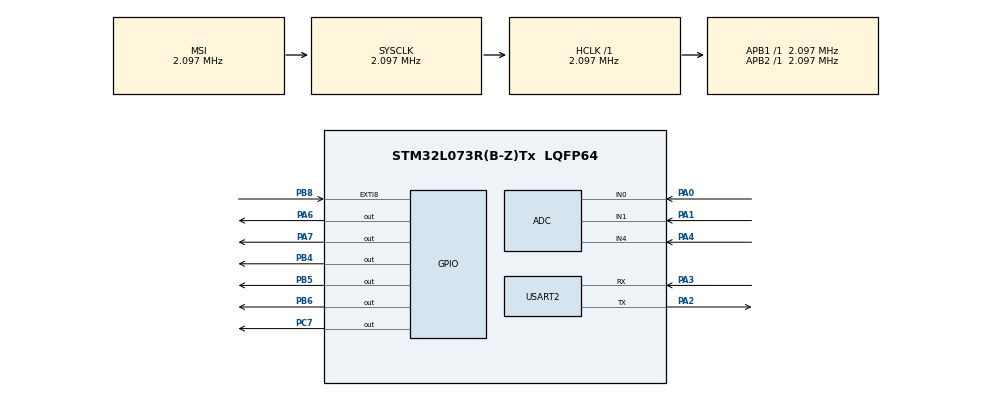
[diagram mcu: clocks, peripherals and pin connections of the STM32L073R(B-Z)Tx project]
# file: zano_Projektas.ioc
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ADC.DiscontinuousConvMode=ENABLE
Mcu.Family=STM32L0
Mcu.Name=STM32L073R(B-Z)Tx
Mcu.Package=LQFP64
NVIC.EXTI4_15_IRQn=true\:0\:0\:false\:false\:true\:true\:true\:true
PA0.Mode=IN0
PA0.Signal=ADC_IN0
PA1.Mode=IN1
PA1.Signal=ADC_IN1
PA2.Mode=Asynchronous
PA2.Signal=USART2_TX
PA3.Mode=Asynchronous
PA3.Signal=USART2_RX
PA4.Mode=IN4
PA4.Signal=ADC_IN4
PA6.Signal=GPIO_Output
PA7.Signal=GPIO_Output
PB4.Signal=GPIO_Output
PB5.Signal=GPIO_Output
PB6.Signal=GPIO_Output
PB8.GPIO_PuPd=GPIO_PULLUP
PB8.Signal=GPXTI8
PC7.Signal=GPIO_Output
ProjectManager.HeapSize=0x200
ProjectManager.StackSize=0x400
ProjectManager.TargetToolchain=MDK-ARM V5.32
RCC.AHBFreq_Value=2097000
RCC.APB1Freq_Value=2097000
RCC.APB1TimFreq_Value=2097000
RCC.APB2Freq_Value=2097000
RCC.APB2TimFreq_Value=2097000
RCC.HSE_VALUE=8000000
RCC.HSI16_VALUE=16000000
RCC.HSI48_VALUE=48000000
RCC.HSI_VALUE=16000000
RCC.LSE_VALUE=32768
RCC.MSI_VALUE=2097000
RCC.SYSCLKFreq_VALUE=2097000
RCC.VCOOutputFreq_Value=48000000
USART2.VirtualMode-Asynchronous=VM_ASYNC
board=custom

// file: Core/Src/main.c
/* USER CODE BEGIN Header */
/**
  ******************************************************************************
  * @file           : main.c
  * @brief          : Main program body
  ******************************************************************************
  * @attention
  *
  * Copyright (c) 2024 STMicroelectronics.
  * All rights reserved.
  *
  * This software is licensed under terms that can be found in the LICENSE file
  * in the root directory of this software component.
  * If no LICENSE file comes with this software, it is provided AS-IS.
  *
  ******************************************************************************
  */
/* USER CODE END Header */
#include "main.h"

/* USER CODE BEGIN Includes */
#include "lcd.h"
float raw;
float Vin;
float Vin_t;
int ValueR1=7500;
int ValueR2=30000;
int g;
int V;
float raw1;
float Vin1;
float Vin_t1;
int g1;
int V1;
float raw2;
float Vin2;
float Vin_t2;
int g2;
int V2;
char msg[100];
char msg2[100];
char msg3[100];
char msg4[100];
float vid;
int gv;
int Vg;
int cnt=0;
/* USER CODE END Includes */

ADC_HandleTypeDef hadc;

UART_HandleTypeDef huart2;

/* USER CODE BEGIN PV */
// Lcd_PortType ports[] = { D4_GPIO_Port, D5_GPIO_Port, D6_GPIO_Port, D7_GPIO_Port };
  Lcd_PortType ports[] = { GPIOC, GPIOB, GPIOA, GPIOA };
  // Lcd_PinType pins[] = {D4_Pin, D5_Pin, D6_Pin, D7_Pin};
  Lcd_PinType pins[] = {GPIO_PIN_7, GPIO_PIN_6, GPIO_PIN_7, GPIO_PIN_6};
  Lcd_HandleTypeDef lcd;
  // Lcd_create(ports, pins, RS_GPIO_Port, RS_Pin, EN_GPIO_Port, EN_Pin, LCD_4_BIT_MODE);
/* USER CODE END PV */

void SystemClock_Config(void);
static void MX_GPIO_Init(void);
static void MX_ADC_Init(void);
static void MX_USART2_UART_Init(void);

/* USER CODE BEGIN 0 */
typedef enum {STATUS_READY, STATUS_WAIT} TStatus;
TStatus Status=STATUS_WAIT;
void HAL_GPIO_EXTI_Callback(uint16_t GPIO_Pin){
/* Prevent unused argument(s) compilation warning */
UNUSED(GPIO_Pin);
 static uint32_t last_press_time = 0;

    uint32_t current_time = HAL_GetTick();

    if ((current_time - last_press_time) > 300) {

        last_press_time = current_time;

        if (GPIO_Pin == GPIO_PIN_8) {
            if (Status == STATUS_WAIT) {
                Status = STATUS_READY;
								cnt++;
            } else {
                Status = STATUS_WAIT;
            }
        }
    }
}

void itampa_1()
{

				Vin=raw*(3.3/4096);
				Vin_t = Vin * ( 1 + ( (float) ValueR2 /  (float) ValueR1) );
				Lcd_cursor(&lcd, 0,0);
				Lcd_string(&lcd,"Nr. 1: ");
				g = (int)Vin_t;
				V = (Vin_t - g)*10;
				Lcd_int(&lcd, Vin_t);
				Lcd_string(&lcd,".");
				Lcd_int(&lcd, V);
				Lcd_string(&lcd,"V");
				sprintf(msg, "Itampa nr. 1: %f\r\n", Vin_t);
				HAL_UART_Transmit(&huart2,(uint8_t*)msg, strlen(msg),HAL_MAX_DELAY);
}
void itampa_2()
{

				Vin1=raw1*(3.3/4096);
				Vin_t1 = Vin1 * ( 1 + ( (float) ValueR2 /  (float) ValueR1) );
				Lcd_cursor(&lcd, 0,0);
				Lcd_string(&lcd,"Nr. 2: ");
				g1 = (int)Vin_t1;
				V1 = (Vin_t1 - g1)*10;
				Lcd_int(&lcd, Vin_t1);
				Lcd_string(&lcd,".");
				Lcd_int(&lcd, V1);
				Lcd_string(&lcd,"V");
				sprintf(msg2, "Itampa nr. 2: %f\r\n", Vin_t1);
				HAL_UART_Transmit(&huart2,(uint8_t*)msg2, strlen(msg2),HAL_MAX_DELAY);
}
void itampa_3()
{

				Vin2=raw2*(3.3/4096);
				Vin_t2 = Vin2 * ( 1 + ( (float) ValueR2 /  (float) ValueR1) );
				Lcd_cursor(&lcd, 0,0);
				Lcd_string(&lcd,"Nr. 3: ");
				g2 = (int)Vin_t2;
				V2 = (Vin_t2 - g2)*10;
				Lcd_int(&lcd, Vin_t2);
				Lcd_string(&lcd,".");
				Lcd_int(&lcd, V2);
				Lcd_string(&lcd,"V");
				sprintf(msg3, "Itampa nr. 3: %f\r\n", Vin_t2);
				HAL_UART_Transmit(&huart2,(uint8_t*)msg3, strlen(msg3),HAL_MAX_DELAY);
}
void vidurkis()
{
	HAL_ADC_Start(&hadc);
        HAL_ADC_PollForConversion(&hadc, 300);
        raw = HAL_ADC_GetValue(&hadc);
		HAL_ADC_Start(&hadc);
        HAL_ADC_PollForConversion(&hadc, 300);
        raw1 = HAL_ADC_GetValue(&hadc);
		HAL_ADC_Start(&hadc);
        HAL_ADC_PollForConversion(&hadc, 300);
        raw2 = HAL_ADC_GetValue(&hadc);
	Vin=raw*(3.3/4096);
				Vin_t = Vin * ( 1 + ( (float) ValueR2 /  (float) ValueR1) );
	Vin1=raw1*(3.3/4096);
				Vin_t1 = Vin1 * ( 1 + ( (float) ValueR2 /  (float) ValueR1) );
	Vin2=raw2*(3.3/4096);
				Vin_t2 = Vin2 * ( 1 + ( (float) ValueR2 /  (float) ValueR1) );
	vid = (Vin_t + Vin_t1 + Vin_t2 )/3;
	Lcd_cursor(&lcd, 0,0);
	Lcd_string(&lcd,"Vidurkis: ");
	gv = (int)vid;
	Vg = (vid - gv)*10;
	Lcd_int(&lcd, vid);
	Lcd_string(&lcd,".");
	Lcd_int(&lcd, Vg);
	Lcd_string(&lcd,"V");
	sprintf(msg4, "Vidurkis: %f\r\n", vid);
	HAL_UART_Transmit(&huart2,(uint8_t*)msg4, strlen(msg4),HAL_MAX_DELAY);
}
/* USER CODE END 0 */

int main(void)
{

  /* MCU Configuration--------------------------------------------------------*/

  /* Reset of all peripherals, Initializes the Flash interface and the Systick. */
  HAL_Init();

  /* Configure the system clock */
  SystemClock_Config();

  /* Initialize all configured peripherals */
  MX_GPIO_Init();
  MX_ADC_Init();
  MX_USART2_UART_Init();
  /* USER CODE BEGIN 2 */

  lcd = Lcd_create(ports, pins, GPIOB, GPIO_PIN_5, GPIOB, GPIO_PIN_4, LCD_4_BIT_MODE);

  /* USER CODE END 2 */

  /* Infinite loop */
  /* USER CODE BEGIN WHILE */
  while (1)
  {
		HAL_ADC_Start(&hadc);
    HAL_ADC_PollForConversion(&hadc, 300);
    raw = HAL_ADC_GetValue(&hadc);
		HAL_ADC_Start(&hadc);
		HAL_ADC_PollForConversion(&hadc, 300);
		raw1 = HAL_ADC_GetValue(&hadc);
		HAL_ADC_Start(&hadc);
    HAL_ADC_PollForConversion(&hadc, 300);
    raw2 = HAL_ADC_GetValue(&hadc);
		if(cnt==0)
		{
		itampa_1();
		}
		else if(cnt==1)
		{
		Lcd_clear(&lcd);
		cnt=2;
		}
		else if(cnt==2)
		{
		itampa_2();
		}
		else if(cnt==3)
		{
		Lcd_clear(&lcd);
		cnt=4;
		}
		else if(cnt==4)
		{
		itampa_3();
		}
		else if(cnt==5)
		{
		Lcd_clear(&lcd);
		cnt=6;
		}
		else if(cnt==6)
		{
		vidurkis();
		}
		else if(cnt==7)
		{
		Lcd_clear(&lcd);
		cnt=0;
		}
    /* USER CODE END WHILE */

  }
}

void SystemClock_Config(void)
{
  RCC_OscInitTypeDef RCC_OscInitStruct = {0};
  RCC_ClkInitTypeDef RCC_ClkInitStruct = {0};
  RCC_PeriphCLKInitTypeDef PeriphClkInit = {0};

  /** Configure the main internal regulator output voltage
  */
  __HAL_PWR_VOLTAGESCALING_CONFIG(PWR_REGULATOR_VOLTAGE_SCALE1);

  /** Initializes the RCC Oscillators according to the specified parameters
  * in the RCC_OscInitTypeDef structure.
  */
  RCC_OscInitStruct.OscillatorType = RCC_OSCILLATORTYPE_MSI;
  RCC_OscInitStruct.MSIState = RCC_MSI_ON;
  RCC_OscInitStruct.MSICalibrationValue = 0;
  RCC_OscInitStruct.MSIClockRange = RCC_MSIRANGE_5;
  RCC_OscInitStruct.PLL.PLLState = RCC_PLL_NONE;
  if (HAL_RCC_OscConfig(&RCC_OscInitStruct) != HAL_OK)
  {
    Error_Handler();
  }

  /** Initializes the CPU, AHB and APB buses clocks
  */
  RCC_ClkInitStruct.ClockType = RCC_CLOCKTYPE_HCLK|RCC_CLOCKTYPE_SYSCLK
                              |RCC_CLOCKTYPE_PCLK1|RCC_CLOCKTYPE_PCLK2;
  RCC_ClkInitStruct.SYSCLKSource = RCC_SYSCLKSOURCE_MSI;
  RCC_ClkInitStruct.AHBCLKDivider = RCC_SYSCLK_DIV1;
  RCC_ClkInitStruct.APB1CLKDivider = RCC_HCLK_DIV1;
  RCC_ClkInitStruct.APB2CLKDivider = RCC_HCLK_DIV1;

  if (HAL_RCC_ClockConfig(&RCC_ClkInitStruct, FLASH_LATENCY_0) != HAL_OK)
  {
    Error_Handler();
  }
  PeriphClkInit.PeriphClockSelection = RCC_PERIPHCLK_USART2;
  PeriphClkInit.Usart2ClockSelection = RCC_USART2CLKSOURCE_PCLK1;
  if (HAL_RCCEx_PeriphCLKConfig(&PeriphClkInit) != HAL_OK)
  {
    Error_Handler();
  }
}

static void MX_ADC_Init(void)
{

  ADC_ChannelConfTypeDef sConfig = {0};

  /** Configure the global features of the ADC (Clock, Resolution, Data Alignment and number of conversion)
  */
  hadc.Instance = ADC1;
  hadc.Init.OversamplingMode = DISABLE;
  hadc.Init.ClockPrescaler = ADC_CLOCK_SYNC_PCLK_DIV1;
  hadc.Init.Resolution = ADC_RESOLUTION_12B;
  hadc.Init.SamplingTime = ADC_SAMPLETIME_1CYCLE_5;
  hadc.Init.ScanConvMode = ADC_SCAN_DIRECTION_FORWARD;
  hadc.Init.DataAlign = ADC_DATAALIGN_RIGHT;
  hadc.Init.ContinuousConvMode = DISABLE;
  hadc.Init.DiscontinuousConvMode = ENABLE;
  hadc.Init.ExternalTrigConvEdge = ADC_EXTERNALTRIGCONVEDGE_NONE;
  hadc.Init.ExternalTrigConv = ADC_SOFTWARE_START;
  hadc.Init.DMAContinuousRequests = DISABLE;
  hadc.Init.EOCSelection = ADC_EOC_SINGLE_CONV;
  hadc.Init.Overrun = ADC_OVR_DATA_PRESERVED;
  hadc.Init.LowPowerAutoWait = DISABLE;
  hadc.Init.LowPowerFrequencyMode = ENABLE;
  hadc.Init.LowPowerAutoPowerOff = DISABLE;
  if (HAL_ADC_Init(&hadc) != HAL_OK)
  {
    Error_Handler();
  }

  /** Configure for the selected ADC regular channel to be converted.
  */
  sConfig.Channel = ADC_CHANNEL_0;
  sConfig.Rank = ADC_RANK_CHANNEL_NUMBER;
  if (HAL_ADC_ConfigChannel(&hadc, &sConfig) != HAL_OK)
  {
    Error_Handler();
  }

  /** Configure for the selected ADC regular channel to be converted.
  */
  sConfig.Channel = ADC_CHANNEL_1;
  if (HAL_ADC_ConfigChannel(&hadc, &sConfig) != HAL_OK)
  {
    Error_Handler();
  }

  /** Configure for the selected ADC regular channel to be converted.
  */
  sConfig.Channel = ADC_CHANNEL_4;
  if (HAL_ADC_ConfigChannel(&hadc, &sConfig) != HAL_OK)
  {
    Error_Handler();
  }

}

static void MX_USART2_UART_Init(void)
{

  huart2.Instance = USART2;
  huart2.Init.BaudRate = 115200;
  huart2.Init.WordLength = UART_WORDLENGTH_8B;
  huart2.Init.StopBits = UART_STOPBITS_1;
  huart2.Init.Parity = UART_PARITY_NONE;
  huart2.Init.Mode = UART_MODE_TX_RX;
  huart2.Init.HwFlowCtl = UART_HWCONTROL_NONE;
  huart2.Init.OverSampling = UART_OVERSAMPLING_16;
  huart2.Init.OneBitSampling = UART_ONE_BIT_SAMPLE_DISABLE;
  huart2.AdvancedInit.AdvFeatureInit = UART_ADVFEATURE_NO_INIT;
  if (HAL_UART_Init(&huart2) != HAL_OK)
  {
    Error_Handler();
  }

}

static void MX_GPIO_Init(void)
{
  GPIO_InitTypeDef GPIO_InitStruct = {0};

  /* GPIO Ports Clock Enable */
  __HAL_RCC_GPIOA_CLK_ENABLE();
  __HAL_RCC_GPIOC_CLK_ENABLE();
  __HAL_RCC_GPIOB_CLK_ENABLE();

  /*Configure GPIO pin Output Level */
  HAL_GPIO_WritePin(GPIOA, GPIO_PIN_6|GPIO_PIN_7, GPIO_PIN_RESET);

  /*Configure GPIO pin Output Level */
  HAL_GPIO_WritePin(GPIOC, GPIO_PIN_7, GPIO_PIN_RESET);

  /*Configure GPIO pin Output Level */
  HAL_GPIO_WritePin(GPIOB, GPIO_PIN_4|GPIO_PIN_5|GPIO_PIN_6, GPIO_PIN_RESET);

  /*Configure GPIO pins : PA6 PA7 */
  GPIO_InitStruct.Pin = GPIO_PIN_6|GPIO_PIN_7;
  GPIO_InitStruct.Mode = GPIO_MODE_OUTPUT_PP;
  GPIO_InitStruct.Pull = GPIO_NOPULL;
  GPIO_InitStruct.Speed = GPIO_SPEED_FREQ_LOW;
  HAL_GPIO_Init(GPIOA, &GPIO_InitStruct);

  /*Configure GPIO pin : PC7 */
  GPIO_InitStruct.Pin = GPIO_PIN_7;
  GPIO_InitStruct.Mode = GPIO_MODE_OUTPUT_PP;
  GPIO_InitStruct.Pull = GPIO_NOPULL;
  GPIO_InitStruct.Speed = GPIO_SPEED_FREQ_LOW;
  HAL_GPIO_Init(GPIOC, &GPIO_InitStruct);

  /*Configure GPIO pins : PB4 PB5 PB6 */
  GPIO_InitStruct.Pin = GPIO_PIN_4|GPIO_PIN_5|GPIO_PIN_6;
  GPIO_InitStruct.Mode = GPIO_MODE_OUTPUT_PP;
  GPIO_InitStruct.Pull = GPIO_NOPULL;
  GPIO_InitStruct.Speed = GPIO_SPEED_FREQ_LOW;
  HAL_GPIO_Init(GPIOB, &GPIO_InitStruct);

  /*Configure GPIO pin : PB8 */
  GPIO_InitStruct.Pin = GPIO_PIN_8;
  GPIO_InitStruct.Mode = GPIO_MODE_IT_RISING;
  GPIO_InitStruct.Pull = GPIO_PULLUP;
  HAL_GPIO_Init(GPIOB, &GPIO_InitStruct);

  /* EXTI interrupt init*/
  HAL_NVIC_SetPriority(EXTI4_15_IRQn, 0, 0);
  HAL_NVIC_EnableIRQ(EXTI4_15_IRQn);

}

void Error_Handler(void)
{
  __disable_irq();
  while (1)
  {
  }
}
